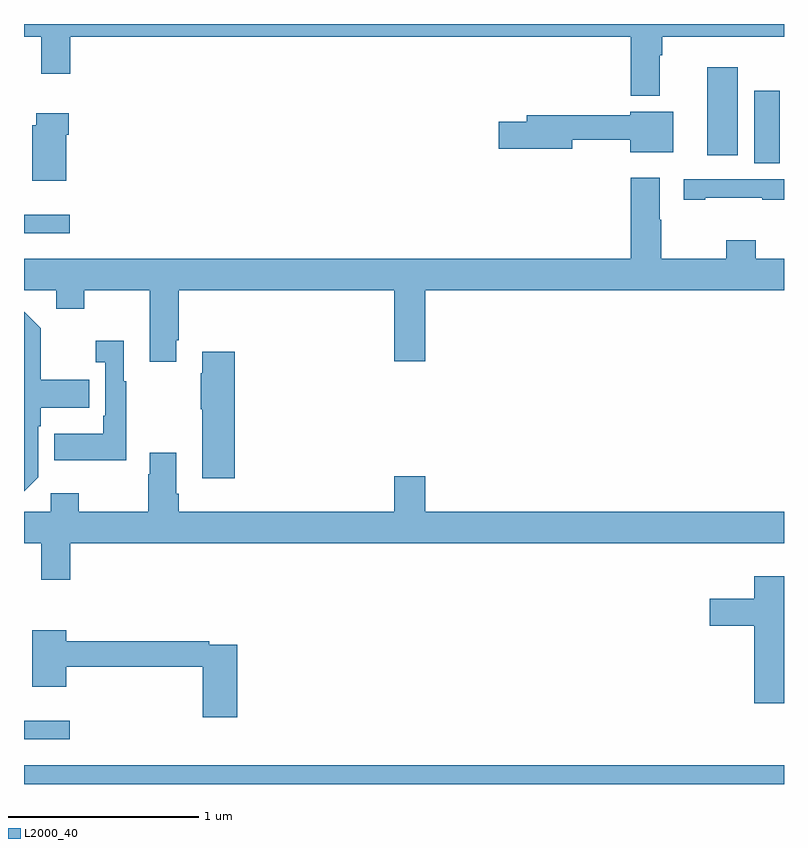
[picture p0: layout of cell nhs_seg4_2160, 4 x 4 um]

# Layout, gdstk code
import gdstk
lib = gdstk.Library(unit=1e-6, precision=1e-09)
def R(c, l, rs):  # rectangles x0, y0, x1, y1
    for r in rs: c.add(gdstk.rectangle(r[:2], r[2:], *l))
def P(c, l, *ps):  # polygons
    for p in ps: c.add(gdstk.Polygon(p, *l))
L2000_40 = (2000, 40)

nhs_seg4_2160 = lib.new_cell('nhs_seg4_2160')
R(nhs_seg4_2160, L2000_40, [(223,780.9,227,781), (223,781.136,223.24,781.233), (223,783.8,223.24,783.897), (226.844,784.168,226.978,784.549), (226.595,784.209,226.756,784.672)])
P(nhs_seg4_2160, L2000_40, [(226.345,784.736),(226.358,784.736),(226.358,784.832),(227,784.832),(227,784.9),(223,784.9),(223,784.832),(223.091,784.832),(223.091,784.638),(223.244,784.638),(223.244,784.832),(226.193,784.832),(226.193,784.523),(226.345,784.523)],
  [(226.417,784.438),(226.19,784.438),(226.19,784.42),(225.647,784.42),(225.647,784.386),(225.498,784.386),(225.498,784.244),(225.886,784.244),(225.886,784.291),(226.19,784.291),(226.19,784.226),(226.417,784.226)],
  [(223.222,784.316),(223.235,784.316),(223.235,784.429),(223.064,784.429),(223.064,784.368),(223.043,784.368),(223.043,784.076),(223.222,784.076)],
  [(227,783.664),(226.851,783.664),(226.851,783.763),(226.696,783.763),(226.696,783.664),(226.353,783.664),(226.353,783.869),(226.345,783.869),(226.345,784.09),(226.193,784.09),(226.193,783.664),(223,783.664),(223,783.5),(223.169,783.5),(223.169,783.401),(223.317,783.401),(223.317,783.5),(223.661,783.5),(223.661,783.123),(223.801,783.123),(223.801,783.235),(223.814,783.235),(223.814,783.5),(224.948,783.5),(224.948,783.126),(225.112,783.126),(225.112,783.5),(227,783.5)],
  [(226.585,783.985),(226.885,783.985),(226.885,783.975),(227,783.975),(227,784.083),(226.473,784.083),(226.473,783.975),(226.585,783.975)],
  [(223.074,782.514),(223.074,782.783),(223.087,782.783),(223.087,782.879),(223.343,782.879),(223.343,783.027),(223.087,783.027),(223.087,783.299),(223,783.386),(223,782.44)],
  [(223.537,783.019),(223.525,783.019),(223.525,783.232),(223.377,783.232),(223.377,783.119),(223.428,783.119),(223.428,782.839),(223.416,782.839),(223.416,782.743),(223.159,782.743),(223.159,782.603),(223.537,782.603)],
  [(224.11,783.175),(223.937,783.175),(223.937,783.062),(223.93,783.062),(223.93,782.873),(223.937,782.873),(223.937,782.508),(224.11,782.508)],
  [(223.244,782.168),(227,782.168),(227,782.332),(225.112,782.332),(225.112,782.521),(224.948,782.521),(224.948,782.332),(223.814,782.332),(223.814,782.428),(223.801,782.428),(223.801,782.644),(223.661,782.644),(223.661,782.531),(223.654,782.531),(223.654,782.332),(223.287,782.332),(223.287,782.431),(223.14,782.431),(223.14,782.332),(223,782.332),(223,782.168),(223.091,782.168),(223.091,781.974),(223.244,781.974)],
  [(227,781.993),(226.844,781.993),(226.844,781.875),(226.608,781.875),(226.608,781.733),(226.844,781.733),(226.844,781.326),(227,781.326)],
  [(224.123,781.632),(223.976,781.632),(223.976,781.652),(223.222,781.652),(223.222,781.708),(223.043,781.708),(223.043,781.412),(223.222,781.412),(223.222,781.516),(223.94,781.516),(223.94,781.251),(224.123,781.251)])

lib.write_gds('nhs_seg4_2160.gds')
